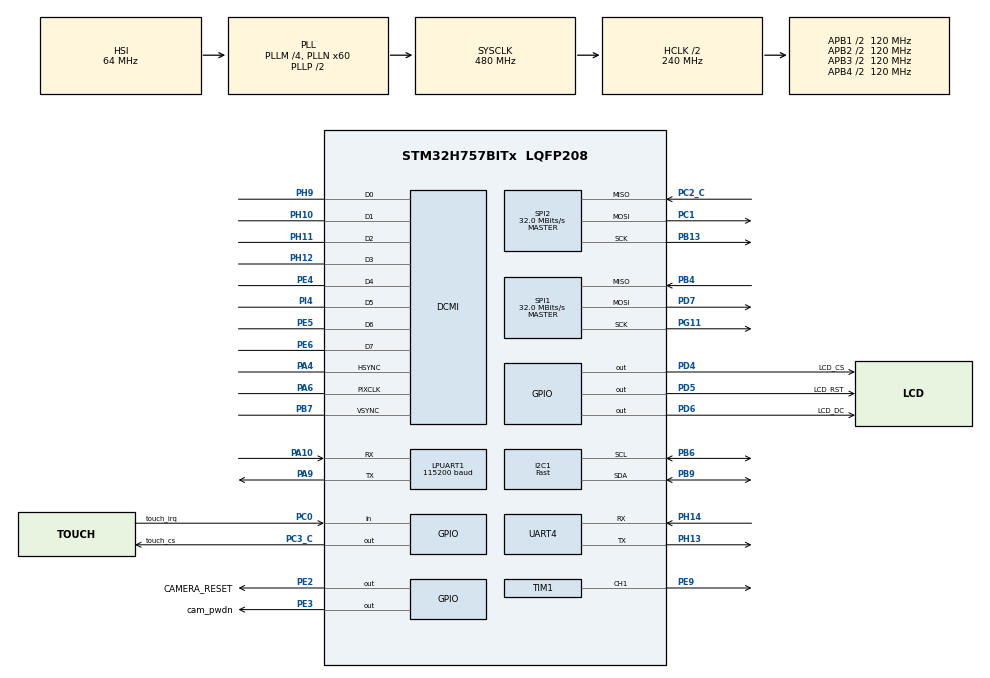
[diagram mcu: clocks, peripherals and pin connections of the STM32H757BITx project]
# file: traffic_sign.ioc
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CORTEX_M7.CPU_DCache=Enabled
CORTEX_M7.CPU_ICache=Enabled
CortexM4.IPs=BDMA,CORTEX_M4\:I,DMA,FATFS_M4\:I,FREERTOS_M4\:I,GPIO,IWDG2\:I,MDMA,NVIC2\:I,OPENAMP_M4\:I,PDM2PCM_M4\:I,PWR,RCC,RESMGR_UTILITY,SYS_M4\:I,USB_DEVICE_M4\:I,USB_HOST_M4\:I,VREFBUF,WWDG2\:I
CortexM7.IPs=BDMA\:I,CORTEX_M7\:I,DMA\:I,FATFS_M7\:I,FREERTOS_M7\:I,GPIO\:I,IWDG1\:I,MDMA\:I,NVIC1\:I,OPENAMP_M7\:I,PDM2PCM_M7\:I,PWR\:I,RCC\:I,RESMGR_UTILITY\:I,SYS\:I,USB_DEVICE_M7\:I,USB_HOST_M7\:I,VREFBUF\:I,WWDG1\:I,MEMORYMAP\:I,DEBUG\:I,UART4\:I,SPI1\:I,SPI2\:I,DCMI\:I,LPUART1\:I,I2C1\:I,TIM1\:I,STMicroelectronics.X-CUBE-AI.10.1.0_M7\:I
CortexM7.Pins=PE2,PE3,PC0,PC3_C,PD4,PD5,PD6
DCMI.JPEGMode=DCMI_JPEG_DISABLE
DCMI.PCKPolarity=DCMI_PCKPOLARITY_RISING
DCMI.VSPolarity=DCMI_VSPOLARITY_HIGH
Dma.DCMI.1.Direction=DMA_PERIPH_TO_MEMORY
Dma.DCMI.1.EventEnable=DISABLE
Dma.DCMI.1.FIFOMode=DMA_FIFOMODE_DISABLE
Dma.DCMI.1.Instance=DMA1_Stream1
Dma.DCMI.1.MemDataAlignment=DMA_MDATAALIGN_WORD
Dma.DCMI.1.MemInc=DMA_MINC_ENABLE
Dma.DCMI.1.Mode=DMA_NORMAL
Dma.DCMI.1.PeriphDataAlignment=DMA_PDATAALIGN_WORD
Dma.DCMI.1.PeriphInc=DMA_PINC_DISABLE
Dma.DCMI.1.Polarity=HAL_DMAMUX_REQ_GEN_RISING
Dma.DCMI.1.Priority=DMA_PRIORITY_HIGH
Dma.DCMI.1.RequestNumber=1
Dma.DCMI.1.SignalID=NONE
Dma.DCMI.1.SyncEnable=DISABLE
Dma.DCMI.1.SyncPolarity=HAL_DMAMUX_SYNC_NO_EVENT
Dma.DCMI.1.SyncRequestNumber=1
Dma.DCMI.1.SyncSignalID=NONE
Dma.Request0=SPI1_TX
Dma.Request1=DCMI
Dma.SPI1_TX.0.Direction=DMA_MEMORY_TO_PERIPH
Dma.SPI1_TX.0.EventEnable=DISABLE
Dma.SPI1_TX.0.FIFOMode=DMA_FIFOMODE_DISABLE
Dma.SPI1_TX.0.Instance=DMA1_Stream0
Dma.SPI1_TX.0.MemDataAlignment=DMA_MDATAALIGN_BYTE
Dma.SPI1_TX.0.MemInc=DMA_MINC_ENABLE
Dma.SPI1_TX.0.Mode=DMA_NORMAL
Dma.SPI1_TX.0.PeriphDataAlignment=DMA_PDATAALIGN_BYTE
Dma.SPI1_TX.0.PeriphInc=DMA_PINC_DISABLE
Dma.SPI1_TX.0.Polarity=HAL_DMAMUX_REQ_GEN_RISING
Dma.SPI1_TX.0.Priority=DMA_PRIORITY_LOW
Dma.SPI1_TX.0.RequestNumber=1
Dma.SPI1_TX.0.SignalID=NONE
Dma.SPI1_TX.0.SyncEnable=DISABLE
Dma.SPI1_TX.0.SyncPolarity=HAL_DMAMUX_SYNC_NO_EVENT
Dma.SPI1_TX.0.SyncRequestNumber=1
Dma.SPI1_TX.0.SyncSignalID=NONE
I2C1.I2C_Speed_Mode=I2C_Fast
I2C1.Timing=0x00602173
LPUART1.BaudRate=115200
Mcu.Family=STM32H7
Mcu.Name=STM32H757BITx
Mcu.Package=LQFP208
NVIC1.DCMI_IRQn=true\:0\:0\:false\:false\:true\:true\:true\:true
NVIC1.DMA1_Stream0_IRQn=true\:0\:0\:false\:false\:true\:false\:true\:true
NVIC1.DMA1_Stream1_IRQn=true\:0\:0\:false\:false\:true\:false\:true\:true
NVIC1.PriorityGroup=NVIC_PRIORITYGROUP_4
NVIC1.SPI1_IRQn=true\:0\:0\:false\:false\:true\:false\:true\:true
NVIC2.PriorityGroup=NVIC_PRIORITYGROUP_4
PA10.Mode=Asynchronous
PA10.PinAttribute=CortexM7
PA10.Signal=LPUART1_RX
PA13\ (JTMS/SWDIO).Mode=Serial_Wire
PA13\ (JTMS/SWDIO).PinAttribute=CortexM7
PA13\ (JTMS/SWDIO).Signal=DEBUG_JTMS-SWDIO
PA14\ (JTCK/SWCLK).Mode=Serial_Wire
PA14\ (JTCK/SWCLK).PinAttribute=CortexM7
PA14\ (JTCK/SWCLK).Signal=DEBUG_JTCK-SWCLK
PA4.GPIO_PuPd=GPIO_NOPULL
PA4.GPIO_Speed=GPIO_SPEED_FREQ_VERY_HIGH
PA4.Mode=Slave_8_bits_External_Synchro
PA4.PinAttribute=CortexM7
PA4.Signal=DCMI_HSYNC
PA6.GPIO_PuPd=GPIO_NOPULL
PA6.GPIO_Speed=GPIO_SPEED_FREQ_VERY_HIGH
PA6.Mode=Slave_8_bits_External_Synchro
PA6.PinAttribute=CortexM7
PA6.Signal=DCMI_PIXCLK
PA9.Mode=Asynchronous
PA9.PinAttribute=CortexM7
PA9.Signal=LPUART1_TX
PB13.Mode=Full_Duplex_Master
PB13.PinAttribute=CortexM7
PB13.Signal=SPI2_SCK
PB4\ (NJTRST).Mode=Full_Duplex_Master
PB4\ (NJTRST).PinAttribute=CortexM7
PB4\ (NJTRST).Signal=SPI1_MISO
PB6.GPIO_Pu=GPIO_PULLUP
PB6.Mode=I2C
PB6.PinAttribute=CortexM7
PB6.Signal=I2C1_SCL
PB7.GPIO_PuPd=GPIO_NOPULL
PB7.GPIO_Speed=GPIO_SPEED_FREQ_VERY_HIGH
PB7.Mode=Slave_8_bits_External_Synchro
PB7.PinAttribute=CortexM7
PB7.Signal=DCMI_VSYNC
PB9.GPIO_Pu=GPIO_PULLUP
PB9.Mode=I2C
PB9.PinAttribute=CortexM7
PB9.Signal=I2C1_SDA
PC0.GPIO_Label=touch_irq
PC0.PinAttribute=CortexM7
PC0.Signal=GPIO_Input
PC1.Mode=Full_Duplex_Master
PC1.PinAttribute=CortexM7
PC1.Signal=SPI2_MOSI
PC2_C.Mode=Full_Duplex_Master
PC2_C.PinAttribute=CortexM7
PC2_C.Signal=SPI2_MISO
PC3_C.GPIO_Label=touch_cs
PC3_C.PinAttribute=CortexM7
PC3_C.Signal=GPIO_Output
PD4.GPIO_Label=LCD_CS
PD4.PinAttribute=CortexM7
PD4.Signal=GPIO_Output
PD5.GPIO_Label=LCD_RST
PD5.PinAttribute=CortexM7
PD5.Signal=GPIO_Output
PD6.GPIO_Label=LCD_DC
PD6.PinAttribute=CortexM7
PD6.Signal=GPIO_Output
PD7.Mode=Full_Duplex_Master
PD7.PinAttribute=CortexM7
PD7.Signal=SPI1_MOSI
PE2.GPIO_Label=CAMERA_RESET
PE2.PinAttribute=CortexM7
PE2.Signal=GPIO_Output
PE3.GPIO_Label=cam_pwdn
PE3.PinAttribute=CortexM7
PE3.Signal=GPIO_Output
PE4.GPIO_PuPd=GPIO_NOPULL
PE4.GPIO_Speed=GPIO_SPEED_FREQ_VERY_HIGH
PE4.Mode=Slave_8_bits_External_Synchro
PE4.PinAttribute=CortexM7
PE4.Signal=DCMI_D4
PE5.GPIO_PuPd=GPIO_NOPULL
PE5.GPIO_Speed=GPIO_SPEED_FREQ_VERY_HIGH
PE5.Mode=Slave_8_bits_External_Synchro
PE5.PinAttribute=CortexM7
PE5.Signal=DCMI_D6
PE6.GPIO_PuPd=GPIO_NOPULL
PE6.GPIO_Speed=GPIO_SPEED_FREQ_VERY_HIGH
PE6.Mode=Slave_8_bits_External_Synchro
PE6.PinAttribute=CortexM7
PE6.Signal=DCMI_D7
PE9.PinAttribute=CortexM7
PE9.Signal=S_TIM1_CH1
PF7.GPIO_Speed=GPIO_SPEED_FREQ_VERY_HIGH
PF7.PinAttribute=CortexM4
PF7.Signal=QUADSPI_BK1_IO2
PG11.Mode=Full_Duplex_Master
PG11.PinAttribute=CortexM7
PG11.Signal=SPI1_SCK
PH0-OSC_IN\ (PH0).Mode=HSE-External-Clock-Source
PH0-OSC_IN\ (PH0).Signal=RCC_OSC_IN
PH10.GPIO_PuPd=GPIO_NOPULL
PH10.GPIO_Speed=GPIO_SPEED_FREQ_VERY_HIGH
PH10.Mode=Slave_8_bits_External_Synchro
PH10.PinAttribute=CortexM7
PH10.Signal=DCMI_D1
PH11.GPIO_PuPd=GPIO_NOPULL
PH11.GPIO_Speed=GPIO_SPEED_FREQ_VERY_HIGH
PH11.Mode=Slave_8_bits_External_Synchro
PH11.PinAttribute=CortexM7
PH11.Signal=DCMI_D2
PH12.GPIO_PuPd=GPIO_NOPULL
PH12.GPIO_Speed=GPIO_SPEED_FREQ_VERY_HIGH
PH12.Mode=Slave_8_bits_External_Synchro
PH12.PinAttribute=CortexM7
PH12.Signal=DCMI_D3
PH13.Mode=Asynchronous
PH13.PinAttribute=CortexM7
PH13.Signal=UART4_TX
PH14.Mode=Asynchronous
PH14.PinAttribute=CortexM7
PH14.Signal=UART4_RX
PH9.GPIO_PuPd=GPIO_NOPULL
PH9.GPIO_Speed=GPIO_SPEED_FREQ_VERY_HIGH
PH9.Mode=Slave_8_bits_External_Synchro
PH9.PinAttribute=CortexM7
PH9.Signal=DCMI_D0
PI4.GPIO_PuPd=GPIO_NOPULL
PI4.GPIO_Speed=GPIO_SPEED_FREQ_VERY_HIGH
PI4.Mode=Slave_8_bits_External_Synchro
PI4.PinAttribute=CortexM7
PI4.Signal=DCMI_D5
ProjectManager.HeapSize=M4-0x200,M7-0x800
ProjectManager.StackSize=M4-0x400,M7-0x800
ProjectManager.TargetToolchain=STM32CubeIDE
RCC.ADCFreq_Value=80000000
RCC.APB1Freq_Value=120000000
RCC.APB2Freq_Value=120000000
RCC.APB3Freq_Value=120000000
RCC.APB4Freq_Value=120000000
RCC.CortexFreq_Value=480000000
RCC.D1PPRE=RCC_APB3_DIV2
RCC.D2PPRE1=RCC_APB1_DIV2
RCC.D2PPRE2=RCC_APB2_DIV2
RCC.D3PPRE=RCC_APB4_DIV2
RCC.DIVM1=4
RCC.DIVM2=4
RCC.DIVM3=4
RCC.DIVN1=60
RCC.DIVN2=10
RCC.DIVN3=20
RCC.DIVP3=5
RCC.HCLKFreq_Value=240000000
RCC.HPRE=RCC_HCLK_DIV2
RCC.HSE_VALUE=8000000
RCC.I2C123CLockSelection=RCC_I2C123CLKSOURCE_HSI
RCC.PLL2FRACN=0
RCC.PLL3FRACN=0
RCC.PLLFRACN=0
RCC.SDMMC1CLockSelection=RCC_SDMMCCLKSOURCE_PLL2
RCC.SPI123CLockSelection=RCC_SPI123CLKSOURCE_PLL3
RCC.SYSCLKFreq_VALUE=480000000
RCC.SYSCLKSource=RCC_SYSCLKSOURCE_PLLCLK
RCC.SupplySource=PWR_LDO_SUPPLY
RCC.USBCLockSelection=RCC_USBCLKSOURCE_HSI48
RCC.USBFreq_Value=48000000
SH.S_TIM1_CH1.0=TIM1_CH1,PWM Generation1 CH1
SPI1.BaudRatePrescaler=SPI_BAUDRATEPRESCALER_2
SPI1.CLKPolarity=SPI_POLARITY_HIGH
SPI1.CalculateBaudRate=32.0 MBits/s
SPI1.DataSize=SPI_DATASIZE_8BIT
SPI1.Direction=SPI_DIRECTION_2LINES
SPI1.Mode=SPI_MODE_MASTER
SPI1.VirtualType=VM_MASTER
SPI2.BaudRatePrescaler=SPI_BAUDRATEPRESCALER_2
SPI2.CalculateBaudRate=32.0 MBits/s
SPI2.Direction=SPI_DIRECTION_2LINES
SPI2.Mode=SPI_MODE_MASTER
SPI2.VirtualType=VM_MASTER
STMicroelectronics.X-CUBE-AI.10.1.0_M7.ActivationBufferSizeList=43072,12036
STMicroelectronics.X-CUBE-AI.10.1.0_M7.ActivationBuffers=pool0;pool0
STMicroelectronics.X-CUBE-AI.10.1.0_M7.ActivationNames=pool0
STMicroelectronics.X-CUBE-AI.10.1.0_M7.ActivationSizes=AI_NETWORK_DATA_ACTIVATION_1_SIZE
STMicroelectronics.X-CUBE-AI.10.1.0_M7.HeapSize=0x800
STMicroelectronics.X-CUBE-AI.10.1.0_M7.InternalRamActivationBufferMaxSize=AI_NETWORK_DATA_ACTIVATIONS_SIZE
STMicroelectronics.X-CUBE-AI.10.1.0_M7.LatestDirectoryUsed-15b8f5a2c9f39b95025906b1618c0ab2b202d8fbb84d99e44003189ce13f97fc=C\:\\Users\\lapchong\\Downloads
STMicroelectronics.X-CUBE-AI.10.1.0_M7.LatestDirectoryUsed-a4461bd64c94a0ecd1657e755034573ffdc5ad67bda101d7a7038350aecf7dbc=C\:\\Users\\lapchong\\Downloads
STMicroelectronics.X-CUBE-AI.10.1.0_M7.MaximumNumberOfInputLayer=1
STMicroelectronics.X-CUBE-AI.10.1.0_M7.MaximumNumberOfOutputLayer=1
STMicroelectronics.X-CUBE-AI.10.1.0_M7.MaximumSizeOfInputLayer=1
STMicroelectronics.X-CUBE-AI.10.1.0_M7.MaximumSizeOfOutputLayer=1
STMicroelectronics.X-CUBE-AI.10.1.0_M7.ModelActualCompression-15b8f5a2c9f39b95025906b1618c0ab2b202d8fbb84d99e44003189ce13f97fc=0.0
STMicroelectronics.X-CUBE-AI.10.1.0_M7.ModelActualCompression-a4461bd64c94a0ecd1657e755034573ffdc5ad67bda101d7a7038350aecf7dbc=0.0
STMicroelectronics.X-CUBE-AI.10.1.0_M7.ModelCompression-15b8f5a2c9f39b95025906b1618c0ab2b202d8fbb84d99e44003189ce13f97fc=None
STMicroelectronics.X-CUBE-AI.10.1.0_M7.ModelCompression-a4461bd64c94a0ecd1657e755034573ffdc5ad67bda101d7a7038350aecf7dbc=None
STMicroelectronics.X-CUBE-AI.10.1.0_M7.ModelFlashOccupation-15b8f5a2c9f39b95025906b1618c0ab2b202d8fbb84d99e44003189ce13f97fc=27736
STMicroelectronics.X-CUBE-AI.10.1.0_M7.ModelFlashOccupation-a4461bd64c94a0ecd1657e755034573ffdc5ad67bda101d7a7038350aecf7dbc=401299
STMicroelectronics.X-CUBE-AI.10.1.0_M7.ModelHashList=a4461bd64c94a0ecd1657e755034573ffdc5ad67bda101d7a7038350aecf7dbc;15b8f5a2c9f39b95025906b1618c0ab2b202d8fbb84d99e44003189ce13f97fc
STMicroelectronics.X-CUBE-AI.10.1.0_M7.ModelKind-15b8f5a2c9f39b95025906b1618c0ab2b202d8fbb84d99e44003189ce13f97fc=TFLITE
STMicroelectronics.X-CUBE-AI.10.1.0_M7.ModelKind-a4461bd64c94a0ecd1657e755034573ffdc5ad67bda101d7a7038350aecf7dbc=TFLITE
STMicroelectronics.X-CUBE-AI.10.1.0_M7.ModelMacc-15b8f5a2c9f39b95025906b1618c0ab2b202d8fbb84d99e44003189ce13f97fc=534740
STMicroelectronics.X-CUBE-AI.10.1.0_M7.ModelMacc-a4461bd64c94a0ecd1657e755034573ffdc5ad67bda101d7a7038350aecf7dbc=10768870
STMicroelectronics.X-CUBE-AI.10.1.0_M7.ModelName-15b8f5a2c9f39b95025906b1618c0ab2b202d8fbb84d99e44003189ce13f97fc=network_bin
STMicroelectronics.X-CUBE-AI.10.1.0_M7.ModelName-a4461bd64c94a0ecd1657e755034573ffdc5ad67bda101d7a7038350aecf7dbc=network
STMicroelectronics.X-CUBE-AI.10.1.0_M7.ModelNameList=network,network_bin
STMicroelectronics.X-CUBE-AI.10.1.0_M7.ModelRamOccupation-15b8f5a2c9f39b95025906b1618c0ab2b202d8fbb84d99e44003189ce13f97fc=12036
STMicroelectronics.X-CUBE-AI.10.1.0_M7.ModelRamOccupation-a4461bd64c94a0ecd1657e755034573ffdc5ad67bda101d7a7038350aecf7dbc=43072
STMicroelectronics.X-CUBE-AI.10.1.0_M7.ModelStructureFile-15b8f5a2c9f39b95025906b1618c0ab2b202d8fbb84d99e44003189ce13f97fc=C\:\\Users\\lapchong\\Downloads\\binary_classifier_int8.tflite
STMicroelectronics.X-CUBE-AI.10.1.0_M7.ModelStructureFile-a4461bd64c94a0ecd1657e755034573ffdc5ad67bda101d7a7038350aecf7dbc=C\:\\Users\\lapchong\\Downloads\\quantized_gtsrb.tflite
STMicroelectronics.X-CUBE-AI.10.1.0_M7.ModelType-15b8f5a2c9f39b95025906b1618c0ab2b202d8fbb84d99e44003189ce13f97fc=STM32Cube.AI MCU runtime
STMicroelectronics.X-CUBE-AI.10.1.0_M7.ModelType-a4461bd64c94a0ecd1657e755034573ffdc5ad67bda101d7a7038350aecf7dbc=STM32Cube.AI MCU runtime
STMicroelectronics.X-CUBE-AI.10.1.0_M7.ReadyForCodeGeneration=true
STMicroelectronics.X-CUBE-AI.10.1.0_M7.StackSize=0x800
STMicroelectronics.X-CUBE-AI.10.1.0_M7.WorkingBufferStartAddrList=0xFFFFFFFF,0xFFFFFFFF
STMicroelectronics.X-CUBE-AI.10.1.0_M7.XAaCUBEAaAICcArtificialOoIntelligenceJjCore=true
STMicroelectronics.X-CUBE-AI.10.1.0_M7.copyWeightToRam=false
STMicroelectronics.X-CUBE-AI.10.1.0_M7.copyWeightToRam-a4461bd64c94a0ecd1657e755034573ffdc5ad67bda101d7a7038350aecf7dbc=false
STMicroelectronics.X-CUBE-AI.10.1.0_M7.customLayerConfigEnabled=false
STMicroelectronics.X-CUBE-AI.10.1.0_M7.customLayerConfigEnabled-a4461bd64c94a0ecd1657e755034573ffdc5ad67bda101d7a7038350aecf7dbc=false
STMicroelectronics.X-CUBE-AI.10.1.0_M7.noOnnxIoTranspose=false
STMicroelectronics.X-CUBE-AI.10.1.0_M7.noOnnxIoTranspose-a4461bd64c94a0ecd1657e755034573ffdc5ad67bda101d7a7038350aecf7dbc=false
STMicroelectronics.X-CUBE-AI.10.1.0_M7.useInputAllocation=true
STMicroelectronics.X-CUBE-AI.10.1.0_M7.useInputAllocation-a4461bd64c94a0ecd1657e755034573ffdc5ad67bda101d7a7038350aecf7dbc=true
STMicroelectronics.X-CUBE-AI.10.1.0_M7.useOutputAllocation=true
STMicroelectronics.X-CUBE-AI.10.1.0_M7.useOutputAllocation-a4461bd64c94a0ecd1657e755034573ffdc5ad67bda101d7a7038350aecf7dbc=true
SYS.userName=SYS_M7
TIM1.Channel-PWM\ Generation1\ CH1=TIM_CHANNEL_1
TIM1.Period=10-1
TIM1.Pulse-PWM\ Generation1\ CH1=5
VP_MEMORYMAP_VS_MEMORYMAP.Mode=CurAppReg
VP_STMicroelectronics.X-CUBE-AI_M7_VS_ArtificialOoIntelligenceJjXAaCUBEAaAI_10.1.0.Mode=ArtificialOoIntelligenceJjXAaCUBEAaAI
VP_SYS_M4_VS_Systick.Mode=SysTick
VP_TIM1_VS_ClockSourceINT.Mode=Internal
board=custom

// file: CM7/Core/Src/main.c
/* USER CODE BEGIN Header */
/**
  ******************************************************************************
  * @file           : main.c
  * @brief          : Main program body
  ******************************************************************************
  * @attention
  *
  * Copyright (c) 2025 STMicroelectronics.
  * All rights reserved.
  *
  * This software is licensed under terms that can be found in the LICENSE file
  * in the root directory of this software component.
  * If no LICENSE file comes with this software, it is provided AS-IS.
  *
  ******************************************************************************
  */
/* USER CODE END Header */
#include "main.h"

/* USER CODE BEGIN Includes */
#include "st7789.h"
#include "OV7670.h"
#include <stdio.h>
#include "nn_preprocess.h"
#include "nn_process.h"
#include "nn_process_bin.h"
/* USER CODE END Includes */

/* USER CODE BEGIN PD */

#ifndef HSEM_ID_0
#define HSEM_ID_0 (0U) /* HW semaphore 0*/
#endif

/* USER CODE END PD */

DCMI_HandleTypeDef hdcmi;
DMA_HandleTypeDef hdma_dcmi;

I2C_HandleTypeDef hi2c1;

UART_HandleTypeDef hlpuart1;
UART_HandleTypeDef huart4;

SPI_HandleTypeDef hspi1;
SPI_HandleTypeDef hspi2;
DMA_HandleTypeDef hdma_spi1_tx;

TIM_HandleTypeDef htim1;

void SystemClock_Config(void);
void PeriphCommonClock_Config(void);
static void MX_GPIO_Init(void);
static void MX_DMA_Init(void);
static void MX_UART4_Init(void);
static void MX_SPI1_Init(void);
static void MX_SPI2_Init(void);
static void MX_DCMI_Init(void);
static void MX_LPUART1_UART_Init(void);
static void MX_I2C1_Init(void);
static void MX_TIM1_Init(void);

/* USER CODE BEGIN 0 */
int _write(int file, char *data, int len)
{
  HAL_UART_Transmit(&hlpuart1, (uint8_t *)data, len, HAL_MAX_DELAY);
  return len;
}

#define OV7670_QVGA_WIDTH  320
#define OV7670_QVGA_HEIGHT 240

#define USE_GRAYSCALE 0

#if USE_GRAYSCALE
uint32_t frame_buffer[OV7670_QVGA_WIDTH * OV7670_QVGA_HEIGHT/4];
#else
uint32_t frame_buffer[OV7670_QVGA_WIDTH * OV7670_QVGA_HEIGHT/2];
#endif
uint8_t new_capture = 0;

static void onFrameCallback(){
	new_capture = 1;
}

void OV7670_DisplayFrame(uint16_t x, uint16_t y) {
    // Check if the frame will fit on the display
    if ((x >= ST7789_WIDTH) || (y >= ST7789_HEIGHT))
        return;
    if ((x + OV7670_QVGA_WIDTH - 1) >= ST7789_WIDTH)
        return;
    if ((y + OV7670_QVGA_HEIGHT - 1) >= ST7789_HEIGHT)
        return;

#if USE_GRAYSCALE
    // For grayscale mode: each uint32_t contains 4 pixels (8-bit each)
    uint32_t total_pixels = OV7670_QVGA_WIDTH * OV7670_QVGA_HEIGHT;
    uint16_t rgb565_buffer[total_pixels];

    for (uint32_t i = 0; i < total_pixels / 4; i++) {
        uint32_t packed_pixels = frame_buffer[i];

        // Extract 4 grayscale pixels from the uint32_t
        uint8_t pixel0 = (packed_pixels >> 0) & 0xFF;
        uint8_t pixel1 = (packed_pixels >> 8) & 0xFF;
        uint8_t pixel2 = (packed_pixels >> 16) & 0xFF;
        uint8_t pixel3 = (packed_pixels >> 24) & 0xFF;

        // Convert grayscale to RGB565
        // RGB565: RRRRRGGG GGGBBBBB
        rgb565_buffer[i * 4 + 0] = ((pixel0 >> 3) << 11) | ((pixel0 >> 2) << 5) | (pixel0 >> 3);
        rgb565_buffer[i * 4 + 1] = ((pixel1 >> 3) << 11) | ((pixel1 >> 2) << 5) | (pixel1 >> 3);
        rgb565_buffer[i * 4 + 2] = ((pixel2 >> 3) << 11) | ((pixel2 >> 2) << 5) | (pixel2 >> 3);
        rgb565_buffer[i * 4 + 3] = ((pixel3 >> 3) << 11) | ((pixel3 >> 2) << 5) | (pixel3 >> 3);
    }
//#else
//    // For RGB565 mode: each uint32_t contains 2 pixels (16-bit each)
//    uint32_t total_pixels = OV7670_QVGA_WIDTH * OV7670_QVGA_HEIGHT;
//    uint16_t rgb565_buffer[total_pixels];
//
//    for (uint32_t i = 0; i < total_pixels / 2; i++) {
//        uint32_t packed_pixels = frame_buffer[i];
//
//        // Extract 2 RGB565 pixels from the uint32_t
//        rgb565_buffer[i * 2 + 0] = (uint16_t)(packed_pixels & 0xFFFF);        // Lower 16 bits
//        rgb565_buffer[i * 2 + 1] = (uint16_t)((packed_pixels >> 16) & 0xFFFF); // Upper 16 bits
//    }
//#endif
#else
    // For RGB565 mode: each uint32_t contains 2 pixels (16-bit each)
    uint32_t total_pixels = OV7670_QVGA_WIDTH * OV7670_QVGA_HEIGHT;
    uint16_t rgb565_buffer[total_pixels];

    for (uint32_t i = 0; i < total_pixels / 2; i++) {
        uint32_t packed_pixels = frame_buffer[i];

        // Extract 2 RGB565 pixels from the uint32_t
        uint16_t pixel0 = (uint16_t)(packed_pixels & 0xFFFF);        // Lower 16 bits
        uint16_t pixel1 = (uint16_t)((packed_pixels >> 16) & 0xFFFF); // Upper 16 bits

        // Swap endianness (byte order)
        pixel0 = (pixel0 >> 8) | (pixel0 << 8);
        pixel1 = (pixel1 >> 8) | (pixel1 << 8);

        rgb565_buffer[i * 2 + 0] = pixel0;
        rgb565_buffer[i * 2 + 1] = pixel1;
    }
#endif

    // Display the converted frame using your existing ST7789_DrawImage function
    ST7789_DrawImage(x, y, OV7670_QVGA_WIDTH, OV7670_QVGA_HEIGHT, rgb565_buffer);
}

uint32_t time_finish = 0;
uint32_t diff;
/* USER CODE END 0 */

int main(void)
{

/* USER CODE BEGIN Boot_Mode_Sequence_0 */
  int32_t timeout;
/* USER CODE END Boot_Mode_Sequence_0 */

  /* Enable the CPU Cache */

  /* Enable I-Cache---------------------------------------------------------*/
  SCB_EnableICache();

  /* Enable D-Cache---------------------------------------------------------*/
  SCB_EnableDCache();

/* USER CODE BEGIN Boot_Mode_Sequence_1 */
  /* Wait until CPU2 boots and enters in stop mode or timeout*/
  timeout = 0xFFFF;
  while((__HAL_RCC_GET_FLAG(RCC_FLAG_D2CKRDY) != RESET) && (timeout-- > 0));
  if ( timeout < 0 )
  {
  Error_Handler();
  }
/* USER CODE END Boot_Mode_Sequence_1 */
  /* MCU Configuration--------------------------------------------------------*/

  /* Reset of all peripherals, Initializes the Flash interface and the Systick. */
  HAL_Init();

  /* Configure the system clock */
  SystemClock_Config();

  /* Configure the peripherals common clocks */
  PeriphCommonClock_Config();
/* USER CODE BEGIN Boot_Mode_Sequence_2 */
/* When system initialization is finished, Cortex-M7 will release Cortex-M4 by means of
HSEM notification */
/*HW semaphore Clock enable*/
__HAL_RCC_HSEM_CLK_ENABLE();
/*Take HSEM */
HAL_HSEM_FastTake(HSEM_ID_0);
/*Release HSEM in order to notify the CPU2(CM4)*/
HAL_HSEM_Release(HSEM_ID_0,0);
/* wait until CPU2 wakes up from stop mode */
timeout = 0xFFFF;
while((__HAL_RCC_GET_FLAG(RCC_FLAG_D2CKRDY) == RESET) && (timeout-- > 0));
if ( timeout < 0 )
{
Error_Handler();
}
/* USER CODE END Boot_Mode_Sequence_2 */

  /* Initialize all configured peripherals */
  MX_GPIO_Init();
  MX_DMA_Init();
  MX_UART4_Init();
  MX_SPI1_Init();
  MX_SPI2_Init();
  MX_DCMI_Init();
  MX_LPUART1_UART_Init();
  MX_I2C1_Init();
  MX_TIM1_Init();
  /* USER CODE BEGIN 2 */
  printf("hello world\r\n");
  aiInit();
  aiBinInit();

  // start xclk for ov7670
  HAL_TIM_PWM_Start(&htim1, TIM_CHANNEL_1);
  // init display
  ST7789_Init();

  // reset ov7670
  HAL_GPIO_WritePin(GPIOE, GPIO_PIN_3, GPIO_PIN_SET);
  HAL_Delay(20);
  HAL_GPIO_WritePin(GPIOE, GPIO_PIN_3, GPIO_PIN_RESET);
  HAL_Delay(20);
  // init camera
  ov7670_init(&hdcmi, &hdma_dcmi, &hi2c1);

  #if USE_GRAYSCALE
    ov7670_config(OV7670_MODE_QVGA_YUV);
  #else
    ov7670_config(OV7670_MODE_QVGA_RGB565);
  #endif
    ov7670_registerCallback(NULL, NULL, &onFrameCallback);

    char debug[40];

    ov7670_startCap(OV7670_CAP_SINGLE_FRAME, (uint32_t)frame_buffer);
    uint32_t time_start = HAL_GetTick();
  /* USER CODE END 2 */

  /* Infinite loop */
  /* USER CODE BEGIN WHILE */
  while (1)
  {
	  // when capture is done, then display directly
	  if(new_capture)
	  {
		  time_start = HAL_GetTick();

		  pre_process_copy_buffer();
		  display_192x192_frame();
		  convert_framebuffer_to_input_correct(frame_buffer, shared_buffer);

		  aiRun();
		  //aiBinRun();
		  time_finish = HAL_GetTick();

		  diff = time_finish - time_start;
		  sprintf(debug, "exe time: %dms, fps: %d", diff, (1000/diff));
		  ST7789_WriteString(0, 200, debug, Font_11x18, 0x0000, 0xFFFF);
		  print_result();

		  ov7670_startCap(OV7670_CAP_SINGLE_FRAME, (uint32_t)frame_buffer);
	  }

    /* USER CODE END WHILE */

  }
}

void SystemClock_Config(void)
{
  RCC_OscInitTypeDef RCC_OscInitStruct = {0};
  RCC_ClkInitTypeDef RCC_ClkInitStruct = {0};

  /** Supply configuration update enable
  */
  HAL_PWREx_ConfigSupply(PWR_LDO_SUPPLY);

  /** Configure the main internal regulator output voltage
  */
  __HAL_PWR_VOLTAGESCALING_CONFIG(PWR_REGULATOR_VOLTAGE_SCALE0);

  while(!__HAL_PWR_GET_FLAG(PWR_FLAG_VOSRDY)) {}

  /** Initializes the RCC Oscillators according to the specified parameters
  * in the RCC_OscInitTypeDef structure.
  */
  RCC_OscInitStruct.OscillatorType = RCC_OSCILLATORTYPE_HSI;
  RCC_OscInitStruct.HSIState = RCC_HSI_DIV1;
  RCC_OscInitStruct.HSICalibrationValue = RCC_HSICALIBRATION_DEFAULT;
  RCC_OscInitStruct.PLL.PLLState = RCC_PLL_ON;
  RCC_OscInitStruct.PLL.PLLSource = RCC_PLLSOURCE_HSI;
  RCC_OscInitStruct.PLL.PLLM = 4;
  RCC_OscInitStruct.PLL.PLLN = 60;
  RCC_OscInitStruct.PLL.PLLP = 2;
  RCC_OscInitStruct.PLL.PLLQ = 2;
  RCC_OscInitStruct.PLL.PLLR = 2;
  RCC_OscInitStruct.PLL.PLLRGE = RCC_PLL1VCIRANGE_3;
  RCC_OscInitStruct.PLL.PLLVCOSEL = RCC_PLL1VCOWIDE;
  RCC_OscInitStruct.PLL.PLLFRACN = 0;
  if (HAL_RCC_OscConfig(&RCC_OscInitStruct) != HAL_OK)
  {
    Error_Handler();
  }

  /** Initializes the CPU, AHB and APB buses clocks
  */
  RCC_ClkInitStruct.ClockType = RCC_CLOCKTYPE_HCLK|RCC_CLOCKTYPE_SYSCLK
                              |RCC_CLOCKTYPE_PCLK1|RCC_CLOCKTYPE_PCLK2
                              |RCC_CLOCKTYPE_D3PCLK1|RCC_CLOCKTYPE_D1PCLK1;
  RCC_ClkInitStruct.SYSCLKSource = RCC_SYSCLKSOURCE_PLLCLK;
  RCC_ClkInitStruct.SYSCLKDivider = RCC_SYSCLK_DIV1;
  RCC_ClkInitStruct.AHBCLKDivider = RCC_HCLK_DIV2;
  RCC_ClkInitStruct.APB3CLKDivider = RCC_APB3_DIV2;
  RCC_ClkInitStruct.APB1CLKDivider = RCC_APB1_DIV2;
  RCC_ClkInitStruct.APB2CLKDivider = RCC_APB2_DIV2;
  RCC_ClkInitStruct.APB4CLKDivider = RCC_APB4_DIV2;

  if (HAL_RCC_ClockConfig(&RCC_ClkInitStruct, FLASH_LATENCY_4) != HAL_OK)
  {
    Error_Handler();
  }
}

void PeriphCommonClock_Config(void)
{
  RCC_PeriphCLKInitTypeDef PeriphClkInitStruct = {0};

  /** Initializes the peripherals clock
  */
  PeriphClkInitStruct.PeriphClockSelection = RCC_PERIPHCLK_SPI2|RCC_PERIPHCLK_SPI1;
  PeriphClkInitStruct.PLL3.PLL3M = 4;
  PeriphClkInitStruct.PLL3.PLL3N = 20;
  PeriphClkInitStruct.PLL3.PLL3P = 5;
  PeriphClkInitStruct.PLL3.PLL3Q = 2;
  PeriphClkInitStruct.PLL3.PLL3R = 2;
  PeriphClkInitStruct.PLL3.PLL3RGE = RCC_PLL3VCIRANGE_3;
  PeriphClkInitStruct.PLL3.PLL3VCOSEL = RCC_PLL3VCOWIDE;
  PeriphClkInitStruct.PLL3.PLL3FRACN = 0;
  PeriphClkInitStruct.Spi123ClockSelection = RCC_SPI123CLKSOURCE_PLL3;
  if (HAL_RCCEx_PeriphCLKConfig(&PeriphClkInitStruct) != HAL_OK)
  {
    Error_Handler();
  }
}

static void MX_DCMI_Init(void)
{

  hdcmi.Instance = DCMI;
  hdcmi.Init.SynchroMode = DCMI_SYNCHRO_HARDWARE;
  hdcmi.Init.PCKPolarity = DCMI_PCKPOLARITY_RISING;
  hdcmi.Init.VSPolarity = DCMI_VSPOLARITY_HIGH;
  hdcmi.Init.HSPolarity = DCMI_HSPOLARITY_LOW;
  hdcmi.Init.CaptureRate = DCMI_CR_ALL_FRAME;
  hdcmi.Init.ExtendedDataMode = DCMI_EXTEND_DATA_8B;
  hdcmi.Init.JPEGMode = DCMI_JPEG_DISABLE;
  hdcmi.Init.ByteSelectMode = DCMI_BSM_ALL;
  hdcmi.Init.ByteSelectStart = DCMI_OEBS_ODD;
  hdcmi.Init.LineSelectMode = DCMI_LSM_ALL;
  hdcmi.Init.LineSelectStart = DCMI_OELS_ODD;
  if (HAL_DCMI_Init(&hdcmi) != HAL_OK)
  {
    Error_Handler();
  }

}

static void MX_I2C1_Init(void)
{

  hi2c1.Instance = I2C1;
  hi2c1.Init.Timing = 0x00602173;
  hi2c1.Init.OwnAddress1 = 0;
  hi2c1.Init.AddressingMode = I2C_ADDRESSINGMODE_7BIT;
  hi2c1.Init.DualAddressMode = I2C_DUALADDRESS_DISABLE;
  hi2c1.Init.OwnAddress2 = 0;
  hi2c1.Init.OwnAddress2Masks = I2C_OA2_NOMASK;
  hi2c1.Init.GeneralCallMode = I2C_GENERALCALL_DISABLE;
  hi2c1.Init.NoStretchMode = I2C_NOSTRETCH_DISABLE;
  if (HAL_I2C_Init(&hi2c1) != HAL_OK)
  {
    Error_Handler();
  }

  /** Configure Analogue filter
  */
  if (HAL_I2CEx_ConfigAnalogFilter(&hi2c1, I2C_ANALOGFILTER_ENABLE) != HAL_OK)
  {
    Error_Handler();
  }

  /** Configure Digital filter
  */
  if (HAL_I2CEx_ConfigDigitalFilter(&hi2c1, 0) != HAL_OK)
  {
    Error_Handler();
  }

}

static void MX_LPUART1_UART_Init(void)
{

  hlpuart1.Instance = LPUART1;
  hlpuart1.Init.BaudRate = 115200;
  hlpuart1.Init.WordLength = UART_WORDLENGTH_8B;
  hlpuart1.Init.StopBits = UART_STOPBITS_1;
  hlpuart1.Init.Parity = UART_PARITY_NONE;
  hlpuart1.Init.Mode = UART_MODE_TX_RX;
  hlpuart1.Init.HwFlowCtl = UART_HWCONTROL_NONE;
  hlpuart1.Init.OneBitSampling = UART_ONE_BIT_SAMPLE_DISABLE;
  hlpuart1.Init.ClockPrescaler = UART_PRESCALER_DIV1;
  hlpuart1.AdvancedInit.AdvFeatureInit = UART_ADVFEATURE_NO_INIT;
  hlpuart1.FifoMode = UART_FIFOMODE_DISABLE;
  if (HAL_UART_Init(&hlpuart1) != HAL_OK)
  {
    Error_Handler();
  }
  if (HAL_UARTEx_SetTxFifoThreshold(&hlpuart1, UART_TXFIFO_THRESHOLD_1_8) != HAL_OK)
  {
    Error_Handler();
  }
  if (HAL_UARTEx_SetRxFifoThreshold(&hlpuart1, UART_RXFIFO_THRESHOLD_1_8) != HAL_OK)
  {
    Error_Handler();
  }
  if (HAL_UARTEx_DisableFifoMode(&hlpuart1) != HAL_OK)
  {
    Error_Handler();
  }

}

static void MX_UART4_Init(void)
{

  huart4.Instance = UART4;
  huart4.Init.BaudRate = 115200;
  huart4.Init.WordLength = UART_WORDLENGTH_8B;
  huart4.Init.StopBits = UART_STOPBITS_1;
  huart4.Init.Parity = UART_PARITY_NONE;
  huart4.Init.Mode = UART_MODE_TX_RX;
  huart4.Init.HwFlowCtl = UART_HWCONTROL_NONE;
  huart4.Init.OverSampling = UART_OVERSAMPLING_16;
  huart4.Init.OneBitSampling = UART_ONE_BIT_SAMPLE_DISABLE;
  huart4.Init.ClockPrescaler = UART_PRESCALER_DIV1;
  huart4.AdvancedInit.AdvFeatureInit = UART_ADVFEATURE_NO_INIT;
  if (HAL_UART_Init(&huart4) != HAL_OK)
  {
    Error_Handler();
  }
  if (HAL_UARTEx_SetTxFifoThreshold(&huart4, UART_TXFIFO_THRESHOLD_1_8) != HAL_OK)
  {
    Error_Handler();
  }
  if (HAL_UARTEx_SetRxFifoThreshold(&huart4, UART_RXFIFO_THRESHOLD_1_8) != HAL_OK)
  {
    Error_Handler();
  }
  if (HAL_UARTEx_DisableFifoMode(&huart4) != HAL_OK)
  {
    Error_Handler();
  }

}

static void MX_SPI1_Init(void)
{

  /* SPI1 parameter configuration*/
  hspi1.Instance = SPI1;
  hspi1.Init.Mode = SPI_MODE_MASTER;
  hspi1.Init.Direction = SPI_DIRECTION_2LINES;
  hspi1.Init.DataSize = SPI_DATASIZE_8BIT;
  hspi1.Init.CLKPolarity = SPI_POLARITY_HIGH;
  hspi1.Init.CLKPhase = SPI_PHASE_1EDGE;
  hspi1.Init.NSS = SPI_NSS_SOFT;
  hspi1.Init.BaudRatePrescaler = SPI_BAUDRATEPRESCALER_2;
  hspi1.Init.FirstBit = SPI_FIRSTBIT_MSB;
  hspi1.Init.TIMode = SPI_TIMODE_DISABLE;
  hspi1.Init.CRCCalculation = SPI_CRCCALCULATION_DISABLE;
  hspi1.Init.CRCPolynomial = 0x0;
  hspi1.Init.NSSPMode = SPI_NSS_PULSE_ENABLE;
  hspi1.Init.NSSPolarity = SPI_NSS_POLARITY_LOW;
  hspi1.Init.FifoThreshold = SPI_FIFO_THRESHOLD_01DATA;
  hspi1.Init.TxCRCInitializationPattern = SPI_CRC_INITIALIZATION_ALL_ZERO_PATTERN;
  hspi1.Init.RxCRCInitializationPattern = SPI_CRC_INITIALIZATION_ALL_ZERO_PATTERN;
  hspi1.Init.MasterSSIdleness = SPI_MASTER_SS_IDLENESS_00CYCLE;
  hspi1.Init.MasterInterDataIdleness = SPI_MASTER_INTERDATA_IDLENESS_00CYCLE;
  hspi1.Init.MasterReceiverAutoSusp = SPI_MASTER_RX_AUTOSUSP_DISABLE;
  hspi1.Init.MasterKeepIOState = SPI_MASTER_KEEP_IO_STATE_DISABLE;
  hspi1.Init.IOSwap = SPI_IO_SWAP_DISABLE;
  if (HAL_SPI_Init(&hspi1) != HAL_OK)
  {
    Error_Handler();
  }

}

static void MX_SPI2_Init(void)
{

  /* SPI2 parameter configuration*/
  hspi2.Instance = SPI2;
  hspi2.Init.Mode = SPI_MODE_MASTER;
  hspi2.Init.Direction = SPI_DIRECTION_2LINES;
  hspi2.Init.DataSize = SPI_DATASIZE_4BIT;
  hspi2.Init.CLKPolarity = SPI_POLARITY_LOW;
  hspi2.Init.CLKPhase = SPI_PHASE_1EDGE;
  hspi2.Init.NSS = SPI_NSS_SOFT;
  hspi2.Init.BaudRatePrescaler = SPI_BAUDRATEPRESCALER_2;
  hspi2.Init.FirstBit = SPI_FIRSTBIT_MSB;
  hspi2.Init.TIMode = SPI_TIMODE_DISABLE;
  hspi2.Init.CRCCalculation = SPI_CRCCALCULATION_DISABLE;
  hspi2.Init.CRCPolynomial = 0x0;
  hspi2.Init.NSSPMode = SPI_NSS_PULSE_ENABLE;
  hspi2.Init.NSSPolarity = SPI_NSS_POLARITY_LOW;
  hspi2.Init.FifoThreshold = SPI_FIFO_THRESHOLD_01DATA;
  hspi2.Init.TxCRCInitializationPattern = SPI_CRC_INITIALIZATION_ALL_ZERO_PATTERN;
  hspi2.Init.RxCRCInitializationPattern = SPI_CRC_INITIALIZATION_ALL_ZERO_PATTERN;
  hspi2.Init.MasterSSIdleness = SPI_MASTER_SS_IDLENESS_00CYCLE;
  hspi2.Init.MasterInterDataIdleness = SPI_MASTER_INTERDATA_IDLENESS_00CYCLE;
  hspi2.Init.MasterReceiverAutoSusp = SPI_MASTER_RX_AUTOSUSP_DISABLE;
  hspi2.Init.MasterKeepIOState = SPI_MASTER_KEEP_IO_STATE_DISABLE;
  hspi2.Init.IOSwap = SPI_IO_SWAP_DISABLE;
  if (HAL_SPI_Init(&hspi2) != HAL_OK)
  {
    Error_Handler();
  }

}

static void MX_TIM1_Init(void)
{

  TIM_ClockConfigTypeDef sClockSourceConfig = {0};
  TIM_MasterConfigTypeDef sMasterConfig = {0};
  TIM_OC_InitTypeDef sConfigOC = {0};
  TIM_BreakDeadTimeConfigTypeDef sBreakDeadTimeConfig = {0};

  htim1.Instance = TIM1;
  htim1.Init.Prescaler = 0;
  htim1.Init.CounterMode = TIM_COUNTERMODE_UP;
  htim1.Init.Period = 10-1;
  htim1.Init.ClockDivision = TIM_CLOCKDIVISION_DIV1;
  htim1.Init.RepetitionCounter = 0;
  htim1.Init.AutoReloadPreload = TIM_AUTORELOAD_PRELOAD_DISABLE;
  if (HAL_TIM_Base_Init(&htim1) != HAL_OK)
  {
    Error_Handler();
  }
  sClockSourceConfig.ClockSource = TIM_CLOCKSOURCE_INTERNAL;
  if (HAL_TIM_ConfigClockSource(&htim1, &sClockSourceConfig) != HAL_OK)
  {
    Error_Handler();
  }
  if (HAL_TIM_PWM_Init(&htim1) != HAL_OK)
  {
    Error_Handler();
  }
  sMasterConfig.MasterOutputTrigger = TIM_TRGO_RESET;
  sMasterConfig.MasterOutputTrigger2 = TIM_TRGO2_RESET;
  sMasterConfig.MasterSlaveMode = TIM_MASTERSLAVEMODE_DISABLE;
  if (HAL_TIMEx_MasterConfigSynchronization(&htim1, &sMasterConfig) != HAL_OK)
  {
    Error_Handler();
  }
  sConfigOC.OCMode = TIM_OCMODE_PWM1;
  sConfigOC.Pulse = 5;
  sConfigOC.OCPolarity = TIM_OCPOLARITY_HIGH;
  sConfigOC.OCNPolarity = TIM_OCNPOLARITY_HIGH;
  sConfigOC.OCFastMode = TIM_OCFAST_DISABLE;
  sConfigOC.OCIdleState = TIM_OCIDLESTATE_RESET;
  sConfigOC.OCNIdleState = TIM_OCNIDLESTATE_RESET;
  if (HAL_TIM_PWM_ConfigChannel(&htim1, &sConfigOC, TIM_CHANNEL_1) != HAL_OK)
  {
    Error_Handler();
  }
  sBreakDeadTimeConfig.OffStateRunMode = TIM_OSSR_DISABLE;
  sBreakDeadTimeConfig.OffStateIDLEMode = TIM_OSSI_DISABLE;
  sBreakDeadTimeConfig.LockLevel = TIM_LOCKLEVEL_OFF;
  sBreakDeadTimeConfig.DeadTime = 0;
  sBreakDeadTimeConfig.BreakState = TIM_BREAK_DISABLE;
  sBreakDeadTimeConfig.BreakPolarity = TIM_BREAKPOLARITY_HIGH;
  sBreakDeadTimeConfig.BreakFilter = 0;
  sBreakDeadTimeConfig.Break2State = TIM_BREAK2_DISABLE;
  sBreakDeadTimeConfig.Break2Polarity = TIM_BREAK2POLARITY_HIGH;
  sBreakDeadTimeConfig.Break2Filter = 0;
  sBreakDeadTimeConfig.AutomaticOutput = TIM_AUTOMATICOUTPUT_DISABLE;
  if (HAL_TIMEx_ConfigBreakDeadTime(&htim1, &sBreakDeadTimeConfig) != HAL_OK)
  {
    Error_Handler();
  }
  HAL_TIM_MspPostInit(&htim1);

}

static void MX_DMA_Init(void)
{

  /* DMA controller clock enable */
  __HAL_RCC_DMA1_CLK_ENABLE();

  /* DMA interrupt init */
  /* DMA1_Stream0_IRQn interrupt configuration */
  HAL_NVIC_SetPriority(DMA1_Stream0_IRQn, 0, 0);
  HAL_NVIC_EnableIRQ(DMA1_Stream0_IRQn);
  /* DMA1_Stream1_IRQn interrupt configuration */
  HAL_NVIC_SetPriority(DMA1_Stream1_IRQn, 0, 0);
  HAL_NVIC_EnableIRQ(DMA1_Stream1_IRQn);

}

static void MX_GPIO_Init(void)
{
  GPIO_InitTypeDef GPIO_InitStruct = {0};

  /* GPIO Ports Clock Enable */
  __HAL_RCC_GPIOE_CLK_ENABLE();
  __HAL_RCC_GPIOC_CLK_ENABLE();
  __HAL_RCC_GPIOA_CLK_ENABLE();
  __HAL_RCC_GPIOH_CLK_ENABLE();
  __HAL_RCC_GPIOB_CLK_ENABLE();
  __HAL_RCC_GPIOD_CLK_ENABLE();
  __HAL_RCC_GPIOG_CLK_ENABLE();
  __HAL_RCC_GPIOI_CLK_ENABLE();

  /*Configure GPIO pin Output Level */
  HAL_GPIO_WritePin(GPIOE, CAMERA_RESET_Pin|cam_pwdn_Pin, GPIO_PIN_RESET);

  /*Configure GPIO pin Output Level */
  HAL_GPIO_WritePin(touch_cs_GPIO_Port, touch_cs_Pin, GPIO_PIN_RESET);

  /*Configure GPIO pin Output Level */
  HAL_GPIO_WritePin(GPIOD, LCD_CS_Pin|LCD_RST_Pin|LCD_DC_Pin, GPIO_PIN_RESET);

  /*Configure GPIO pins : CAMERA_RESET_Pin cam_pwdn_Pin */
  GPIO_InitStruct.Pin = CAMERA_RESET_Pin|cam_pwdn_Pin;
  GPIO_InitStruct.Mode = GPIO_MODE_OUTPUT_PP;
  GPIO_InitStruct.Pull = GPIO_NOPULL;
  GPIO_InitStruct.Speed = GPIO_SPEED_FREQ_LOW;
  HAL_GPIO_Init(GPIOE, &GPIO_InitStruct);

  /*Configure GPIO pin : touch_irq_Pin */
  GPIO_InitStruct.Pin = touch_irq_Pin;
  GPIO_InitStruct.Mode = GPIO_MODE_INPUT;
  GPIO_InitStruct.Pull = GPIO_NOPULL;
  HAL_GPIO_Init(touch_irq_GPIO_Port, &GPIO_InitStruct);

  /*Configure GPIO pin : touch_cs_Pin */
  GPIO_InitStruct.Pin = touch_cs_Pin;
  GPIO_InitStruct.Mode = GPIO_MODE_OUTPUT_PP;
  GPIO_InitStruct.Pull = GPIO_NOPULL;
  GPIO_InitStruct.Speed = GPIO_SPEED_FREQ_LOW;
  HAL_GPIO_Init(touch_cs_GPIO_Port, &GPIO_InitStruct);

  /*Configure GPIO pins : LCD_CS_Pin LCD_RST_Pin LCD_DC_Pin */
  GPIO_InitStruct.Pin = LCD_CS_Pin|LCD_RST_Pin|LCD_DC_Pin;
  GPIO_InitStruct.Mode = GPIO_MODE_OUTPUT_PP;
  GPIO_InitStruct.Pull = GPIO_NOPULL;
  GPIO_InitStruct.Speed = GPIO_SPEED_FREQ_LOW;
  HAL_GPIO_Init(GPIOD, &GPIO_InitStruct);

  /*AnalogSwitch Config */
  HAL_SYSCFG_AnalogSwitchConfig(SYSCFG_SWITCH_PC3, SYSCFG_SWITCH_PC3_CLOSE);

}

void Error_Handler(void)
{
  __disable_irq();
  while (1)
  {
  }
}
